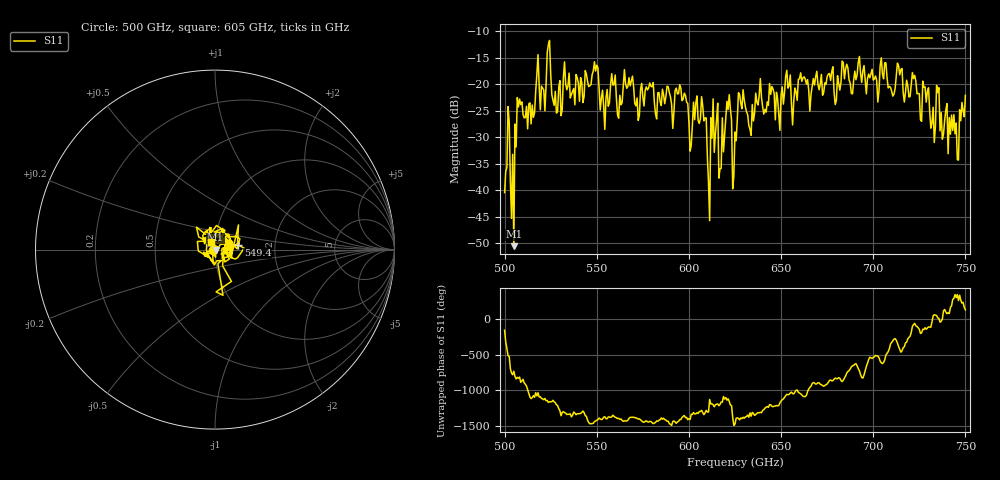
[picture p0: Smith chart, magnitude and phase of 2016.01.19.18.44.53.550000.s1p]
!Created with skrf (http://scikit-rf.org).
# GHz S RI R 50.0
!freq ReS11 ImS11
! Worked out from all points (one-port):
!   401 points, 500 GHz to 750 GHz, reference 50 ohm
!   lowest |S11| = -50.6 dB at 505 GHz (marker M1), VSWR 1.01, Z = 50.3 - j0.0651 ohm
!   |S11| at or under -10 dB: start of sweep to end of sweep
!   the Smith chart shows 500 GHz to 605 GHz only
!   S11 on the Smith chart (normalised r, x): 500 GHz: 0.98, -0.01; 549.4 GHz: 1.30, +0.07; 605 GHz: 0.96, +0.08
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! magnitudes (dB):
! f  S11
! 500 GHz  -40.5
! 501.9 GHz  -24.2
! 505 GHz  -50.6
! 508.1 GHz  -22.8
! 520.6 GHz  -20.7
! 523.8 GHz  -12.6
! 527.5 GHz  -21.4
! 531.2 GHz  -24.8
! 549.4 GHz  -17.5
! 553.1 GHz  -21.1
! 558.8 GHz  -20.2
! 562.5 GHz  -22.1
! 593.8 GHz  -21.8
! 600.6 GHz  -32.6
! 605 GHz  -26.9
! 608.1 GHz  -26.9
! 611.2 GHz  -45.8
! 614.4 GHz  -29.3
! 617.5 GHz  -35.9
! 621.2 GHz  -24.8
! 625 GHz  -29.0
! 628.1 GHz  -23.5
! 632.5 GHz  -27.8
! 656.2 GHz  -27.7
! 687.5 GHz  -19.8
! 718.8 GHz  -20.3
! 745 GHz  -27.3
! 750 GHz  -22.1
